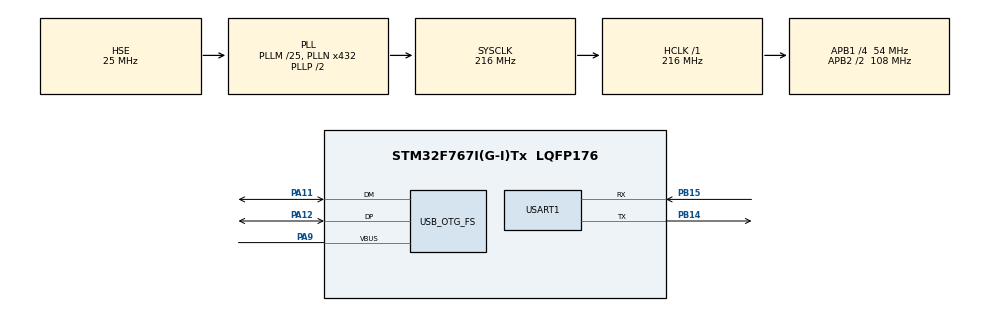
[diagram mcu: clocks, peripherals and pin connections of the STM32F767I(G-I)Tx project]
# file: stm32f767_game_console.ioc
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CORTEX_M7.default_mode_Activation=1
FREERTOS.Tasks01=defaultTask,24,128,StartDefaultTask,Default,NULL,Dynamic,NULL,NULL
Mcu.Family=STM32F7
Mcu.Name=STM32F767I(G-I)Tx
Mcu.Package=LQFP176
NVIC.PriorityGroup=NVIC_PRIORITYGROUP_4
NVIC.TIM6_DAC_IRQn=true\:15\:0\:false\:false\:true\:false\:false\:true\:true
NVIC.TIM7_IRQn=true\:6\:0\:true\:false\:true\:true\:true\:true\:true
NVIC.TimeBase=TIM6_DAC_IRQn
NVIC.TimeBaseIP=TIM6
NVIC.USART1_IRQn=true\:7\:0\:true\:false\:true\:true\:true\:true\:true
PA11.Mode=Host_Only
PA11.Signal=USB_OTG_FS_DM
PA12.Mode=Host_Only
PA12.Signal=USB_OTG_FS_DP
PA9.Mode=Activate_VBUS
PA9.Signal=USB_OTG_FS_VBUS
PB14.Mode=Asynchronous
PB14.Signal=USART1_TX
PB15.Mode=Asynchronous
PB15.Signal=USART1_RX
PH0/OSC_IN.Mode=HSE-External-Oscillator
PH0/OSC_IN.Signal=RCC_OSC_IN
PH1/OSC_OUT.Mode=HSE-External-Oscillator
PH1/OSC_OUT.Signal=RCC_OSC_OUT
ProjectManager.HeapSize=0x4000
ProjectManager.StackSize=0x1000
ProjectManager.TargetToolchain=MDK-ARM V5.27
RCC.AHBFreq_Value=216000000
RCC.APB1CLKDivider=RCC_HCLK_DIV4
RCC.APB1Freq_Value=54000000
RCC.APB1TimFreq_Value=108000000
RCC.APB2CLKDivider=RCC_HCLK_DIV2
RCC.APB2Freq_Value=108000000
RCC.APB2TimFreq_Value=216000000
RCC.CortexFreq_Value=216000000
RCC.EnbaleCSS=true
RCC.HCLKFreq_Value=216000000
RCC.HSE_VALUE=25000000
RCC.HSI_VALUE=16000000
RCC.LSE_VALUE=32768
RCC.PLLM=25
RCC.PLLN=432
RCC.PLLQ=9
RCC.PLLSAIRDiv=RCC_PLLSAIDIVR_4
RCC.SYSCLKFreq_VALUE=216000000
RCC.SYSCLKSource=RCC_SYSCLKSOURCE_PLLCLK
RCC.USBFreq_Value=48000000
RCC.VCOOutputFreq_Value=432000000
TIM7.Prescaler=10799
USART1.VirtualMode-Asynchronous=VM_ASYNC
USB_OTG_FS.VirtualMode=Host_Only
USB_OTG_FS.phy_itface=HCD_PHY_EMBEDDED
VP_FREERTOS_VS_CMSIS_V2.Mode=CMSIS_V2
VP_RNG_VS_RNG.Mode=RNG_Activate
VP_SYS_VS_tim6.Mode=TIM6
VP_TIM7_VS_ClockSourceINT.Mode=Enable_Timer
board=custom

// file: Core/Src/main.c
/* USER CODE BEGIN Header */
/**
 ******************************************************************************
 * @file           : main.c
 * @brief          : Main program body
 ******************************************************************************
 * @attention
 *
 * Copyright (c) 2025 STMicroelectronics.
 * All rights reserved.
 *
 * This software is licensed under terms that can be found in the LICENSE file
 * in the root directory of this software component.
 * If no LICENSE file comes with this software, it is provided AS-IS.
 *
 ******************************************************************************
 */
/* USER CODE END Header */
#include "main.h"
#include "cmsis_os.h"
#include "rng.h"
#include "tim.h"
#include "usart.h"
#include "usb_otg.h"
#include "gpio.h"

/* USER CODE BEGIN Includes */
#include "cli.h"
#include "app_init.h"
#include "lcd.h"
#include "malloc.h"
#include "chip8.h"
/* USER CODE END Includes */

void SystemClock_Config(void);
static void MPU_Config(void);
void MX_FREERTOS_Init(void);
/* USER CODE BEGIN PFP */
void FMC_MPU_Config(void);
/* USER CODE END PFP */

int main(void)
{

  /* USER CODE BEGIN 1 */
	LCD_MPU_Config();
  //FMC_MPU_Config();
  /* USER CODE END 1 */

  /* MPU Configuration--------------------------------------------------------*/
  //MPU_Config();

  /* MCU Configuration--------------------------------------------------------*/

  /* Reset of all peripherals, Initializes the Flash interface and the Systick. */
  HAL_Init();

  /* Configure the system clock */
  SystemClock_Config();

  /* Initialize all configured peripherals */
  MX_GPIO_Init();
  MX_USART1_UART_Init();
  MX_USB_OTG_FS_HCD_Init();
  MX_RNG_Init();
  MX_TIM7_Init();
  /* USER CODE BEGIN 2 */
  LCD_Init();
  LED_Init();
  HID_EventQueue_Init();

  /* USER CODE END 2 */

  /* Init scheduler */
  osKernelInitialize();

  /* Call init function for freertos objects (in cmsis_os2.c) */
  MX_FREERTOS_Init();

  /* Start scheduler */
  osKernelStart();

  /* We should never get here as control is now taken by the scheduler */

  /* Infinite loop */
  while (1)
  {

  }
}

void SystemClock_Config(void)
{
  RCC_OscInitTypeDef RCC_OscInitStruct = {0};
  RCC_ClkInitTypeDef RCC_ClkInitStruct = {0};

  /** Configure the main internal regulator output voltage
  */
  __HAL_RCC_PWR_CLK_ENABLE();
  __HAL_PWR_VOLTAGESCALING_CONFIG(PWR_REGULATOR_VOLTAGE_SCALE1);

  /** Initializes the RCC Oscillators according to the specified parameters
  * in the RCC_OscInitTypeDef structure.
  */
  RCC_OscInitStruct.OscillatorType = RCC_OSCILLATORTYPE_HSE;
  RCC_OscInitStruct.HSEState = RCC_HSE_ON;
  RCC_OscInitStruct.PLL.PLLState = RCC_PLL_ON;
  RCC_OscInitStruct.PLL.PLLSource = RCC_PLLSOURCE_HSE;
  RCC_OscInitStruct.PLL.PLLM = 25;
  RCC_OscInitStruct.PLL.PLLN = 432;
  RCC_OscInitStruct.PLL.PLLP = RCC_PLLP_DIV2;
  RCC_OscInitStruct.PLL.PLLQ = 9;
  RCC_OscInitStruct.PLL.PLLR = 2;
  if (HAL_RCC_OscConfig(&RCC_OscInitStruct) != HAL_OK)
  {
    Error_Handler();
  }

  /** Activate the Over-Drive mode
  */
  if (HAL_PWREx_EnableOverDrive() != HAL_OK)
  {
    Error_Handler();
  }

  /** Initializes the CPU, AHB and APB buses clocks
  */
  RCC_ClkInitStruct.ClockType = RCC_CLOCKTYPE_HCLK|RCC_CLOCKTYPE_SYSCLK
                              |RCC_CLOCKTYPE_PCLK1|RCC_CLOCKTYPE_PCLK2;
  RCC_ClkInitStruct.SYSCLKSource = RCC_SYSCLKSOURCE_PLLCLK;
  RCC_ClkInitStruct.AHBCLKDivider = RCC_SYSCLK_DIV1;
  RCC_ClkInitStruct.APB1CLKDivider = RCC_HCLK_DIV4;
  RCC_ClkInitStruct.APB2CLKDivider = RCC_HCLK_DIV2;

  if (HAL_RCC_ClockConfig(&RCC_ClkInitStruct, FLASH_LATENCY_7) != HAL_OK)
  {
    Error_Handler();
  }

  /** Enables the Clock Security System
  */
  HAL_RCC_EnableCSS();
}

/* USER CODE BEGIN 4 */
void FMC_MPU_Config(void)
{
  MPU_Region_InitTypeDef MPU_InitStruct = {0};
    /* Enables the MPU */
  HAL_MPU_Enable(MPU_PRIVILEGED_DEFAULT);

  HAL_MPU_Disable();

  MPU_InitStruct.Enable = MPU_REGION_ENABLE;
  MPU_InitStruct.BaseAddress = 0xC0000000;
  MPU_InitStruct.Size = MPU_REGION_SIZE_32MB;
  MPU_InitStruct.AccessPermission = MPU_REGION_FULL_ACCESS;
  MPU_InitStruct.IsBufferable = MPU_ACCESS_NOT_BUFFERABLE;
  MPU_InitStruct.IsCacheable = MPU_ACCESS_CACHEABLE;
  MPU_InitStruct.IsShareable = MPU_ACCESS_NOT_SHAREABLE;
  MPU_InitStruct.Number = MPU_REGION_NUMBER0;
  MPU_InitStruct.TypeExtField = MPU_TEX_LEVEL1;
  MPU_InitStruct.SubRegionDisable = 0x00;
  MPU_InitStruct.DisableExec = MPU_INSTRUCTION_ACCESS_ENABLE;

  HAL_MPU_ConfigRegion(&MPU_InitStruct);
  HAL_MPU_Enable(MPU_PRIVILEGED_DEFAULT);
}
/* USER CODE END 4 */

 /* MPU Configuration */

void MPU_Config(void)
{
  MPU_Region_InitTypeDef MPU_InitStruct = {0};

  /* Disables the MPU */
  HAL_MPU_Disable();

  /** Initializes and configures the Region and the memory to be protected
  */
  MPU_InitStruct.Enable = MPU_REGION_ENABLE;
  MPU_InitStruct.Number = MPU_REGION_NUMBER0;
  MPU_InitStruct.BaseAddress = 0x0;
  MPU_InitStruct.Size = MPU_REGION_SIZE_4GB;
  MPU_InitStruct.SubRegionDisable = 0x87;
  MPU_InitStruct.TypeExtField = MPU_TEX_LEVEL0;
  MPU_InitStruct.AccessPermission = MPU_REGION_NO_ACCESS;
  MPU_InitStruct.DisableExec = MPU_INSTRUCTION_ACCESS_DISABLE;
  MPU_InitStruct.IsShareable = MPU_ACCESS_SHAREABLE;
  MPU_InitStruct.IsCacheable = MPU_ACCESS_NOT_CACHEABLE;
  MPU_InitStruct.IsBufferable = MPU_ACCESS_NOT_BUFFERABLE;

  HAL_MPU_ConfigRegion(&MPU_InitStruct);
  /* Enables the MPU */
  HAL_MPU_Enable(MPU_PRIVILEGED_DEFAULT);

}

void HAL_TIM_PeriodElapsedCallback(TIM_HandleTypeDef *htim)
{
  if (htim->Instance == TIM6)
  {
    HAL_IncTick();
  }
  /* USER CODE BEGIN Callback 1 */
  if (htim->Instance == TIM7)
  {
      chip8_timer_tick(&chip8_emulator);
  }
  /* USER CODE END Callback 1 */
}

void Error_Handler(void)
{
  __disable_irq();
  while (1)
  {
  }
}

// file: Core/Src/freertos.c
/* USER CODE BEGIN Header */
/**
 ******************************************************************************
 * File Name          : freertos.c
 * Description        : Code for freertos applications
 ******************************************************************************
 * @attention
 *
 * Copyright (c) 2025 STMicroelectronics.
 * All rights reserved.
 *
 * This software is licensed under terms that can be found in the LICENSE file
 * in the root directory of this software component.
 * If no LICENSE file comes with this software, it is provided AS-IS.
 *
 ******************************************************************************
 */
/* USER CODE END Header */

#include "FreeRTOS.h"
#include "task.h"
#include "main.h"
#include "cmsis_os.h"

/* USER CODE BEGIN Includes */
#include "hid_report_parser.h"
#include "app_init.h"
#include "lcd.h"
#include "chip8.h"
#include "tim.h"
/* USER CODE END Includes */

/* USER CODE BEGIN PM */
uint16_t chip8_whitecolor[64] = {WHITE};
uint16_t chip8_blackcolor[64] = {BLACK};
/* USER CODE END PM */

/* USER CODE BEGIN Variables */
osThreadId tinyUSBTaskHandle;
const osThreadAttr_t tinyUSBTask_attributes = {
  .name = "tinyUSBTask",
  .stack_size = 2048,
  .priority = (osPriority_t) osPriorityNormal,
};

osThreadId gameTaskHandle;
const osThreadAttr_t gameTask_attributes = {
  .name = "gameTask",
  .stack_size = 128 * 4,
  .priority = (osPriority_t) osPriorityNormal,
};

osThreadId hidParserTaskHandle;
const osThreadAttr_t hidParserTask_attributes = {
  .name = "hidParserTask",
  .stack_size = 128 * 4,
  .priority = (osPriority_t) osPriorityAboveNormal,
};

/* USER CODE END Variables */
/* Definitions for defaultTask */

/* USER CODE BEGIN FunctionPrototypes */

void Game_Task(void *argument);
void HID_parser_task(void *argument);
void TinyUSB_Task(void *argument);

/* USER CODE END FunctionPrototypes */

void StartDefaultTask(void *argument);

void MX_FREERTOS_Init(void); /* (MISRA C 2004 rule 8.1) */

void MX_FREERTOS_Init(void) {

  /* Create the thread(s) */
  /* creation of defaultTask */
  //defaultTaskHandle = osThreadNew(StartDefaultTask, NULL, &defaultTask_attributes);

  /* USER CODE BEGIN RTOS_THREADS */

  tinyUSBTaskHandle = osThreadNew(TinyUSB_Task, NULL, &tinyUSBTask_attributes);
  gameTaskHandle = osThreadNew(Game_Task, NULL, &gameTask_attributes);
  hidParserTaskHandle = osThreadNew(HID_parser_task, NULL, &hidParserTask_attributes);
  //osThreadDef(xboxTask, Xbox_Task, osPriorityNormal, 0, 1024);
  //osThreadCreate(osThread(xboxTask), NULL);

  /* add threads, ... */
  /* USER CODE END RTOS_THREADS */

}

void StartDefaultTask(void *argument)
{
  for (;;)
  {
    osDelay(1);
  }
}

/* USER CODE BEGIN Application */
void Game_Task(void *argument)
{
    // Initialize the CHIP8 emulator
    chip8_init(&chip8_emulator);
    chip8_load_rom(&chip8_emulator, Pong1player, sizeof(Pong1player));
    memset(chip8_whitecolor, 0xFFFFF, sizeof(chip8_whitecolor));
    memset(chip8_blackcolor, 0x00000, sizeof(chip8_blackcolor));
    // Set the display direction to vertical
    LCD_Display_Dir(1);
    LCD_ShowString(10,40,260,32,32,(uint8_t*)"CHIP8 EMULATOR");
    LCD_Clear(BLACK);
    HAL_TIM_Base_Start_IT(&htim7);
    while (1)
    {
        chip8_step(&chip8_emulator);
        if (chip8_emulator.draw_flag)
        {
          /* code */
          for (int y = 0; y < 32; y++)
          {
            for (int x = 0; x < 64; x++)
            {
              if (chip8_emulator.gfx[y*64+x])
              {
                LCD_Color_Fill(x*multi_lcd, y*multi_lcd, x*multi_lcd+multi_lcd, y*multi_lcd+multi_lcd, chip8_whitecolor);
              }
              else
              {
                LCD_Color_Fill(x*multi_lcd, y*multi_lcd, x*multi_lcd+multi_lcd, y*multi_lcd+multi_lcd, chip8_blackcolor);
              }

            }
          }
          chip8_emulator.draw_flag = 0;
        }
    }
}

void HID_parser_task(void *argument)
{
    hid_input_event_t event;
    uint8_t keyupflag = 0;
    while (1)
    {
        if (xQueueReceive(HIDInputEventQueue, &event, portMAX_DELAY) == pdTRUE)
        {
            if (event.type == HID_EVT_KEYBOARD)
            {
                keyupflag = 1;
                for (int i = 0; i < 6; i++)
                {
                    if (event.keyboard.keycode[i] != 0)
                    {
                        keyupflag = 0;
                        chip8_set_key(&chip8_emulator, event.keyboard.keycode[i], 1);
                        //printf("Game_Task HID_EVT_KEYBOARD %c\n", keymap[event.keyboard.keycode[i]]);
                    }
                }
                if (keyupflag)
                {
                  chip8_clear_key(&chip8_emulator);
                  //printf("Game_Task KEY UP\n");
                }
            }
            // else if (event.type == HID_EVT_MOUSE)
            // {
            //     printf("Game_Task HID_EVT_MOUSE x:%d y:%d wheel:%d buttons:%d\n", event.mouse.x, event.mouse.y, event.mouse.wheel, event.mouse.buttons);
            // }
        }
    }
}

void TinyUSB_Task(void *argument)
{
    board_init();

    tusb_rhport_init_t host_init = {
    .role = TUSB_ROLE_HOST,
    .speed = TUSB_SPEED_AUTO
    };
    tusb_init(BOARD_TUH_RHPORT, &host_init);
    while (1)
    {
        tuh_task();
        osDelay(1);
    }
}

/* USER CODE END Application */
